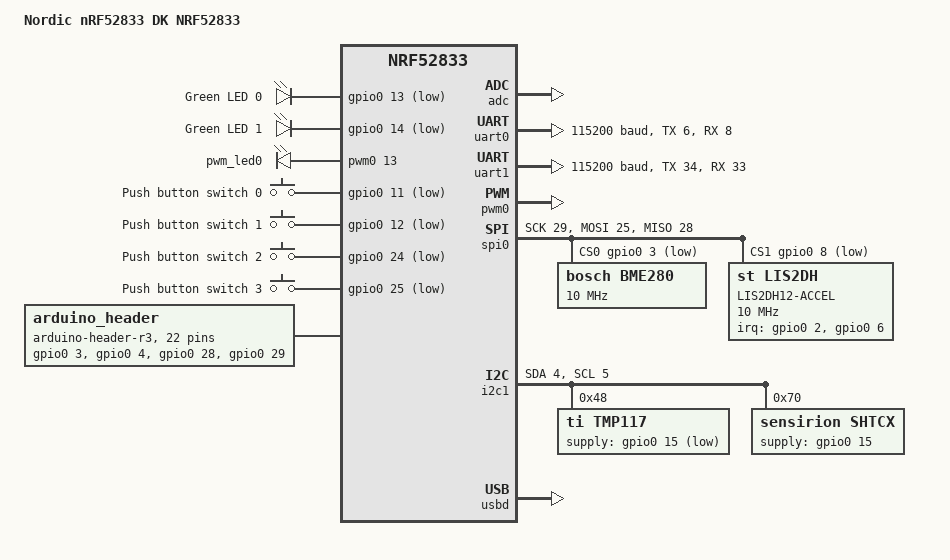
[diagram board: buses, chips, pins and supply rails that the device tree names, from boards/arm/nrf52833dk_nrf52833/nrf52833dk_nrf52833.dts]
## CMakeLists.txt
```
# SPDX-License-Identifier: Apache-2.0

cmake_minimum_required(VERSION 3.20.0)

# Add external Drivers
list(APPEND ZEPHYR_EXTRA_MODULES ${CMAKE_CURRENT_SOURCE_DIR}/drivers/lis2dh12)
list(APPEND ZEPHYR_EXTRA_MODULES ${CMAKE_CURRENT_SOURCE_DIR}/drivers/tmp117)

# Add the board
set(BOARD_ROOT ${CMAKE_CURRENT_LIST_DIR})

find_package(Zephyr REQUIRED HINTS $ENV{ZEPHYR_BASE})
project(ruuvitag)

target_sources(app PRIVATE src/main.c)

zephyr_include_directories(src)

add_subdirectory(src/led_handler)
add_subdirectory(src/button_handler)
add_subdirectory(src/board_info)
add_subdirectory(src/ruuvi_endpoint)
add_subdirectory(src/nfc_handler)
add_subdirectory(src/bt_handler)

###############Sensors###############
add_subdirectory(src/sensor_handler)
add_subdirectory(src/tmp117_handler)
add_subdirectory(src/bme280_handler)
add_subdirectory(src/lis2dh12_handler)
add_subdirectory(src/battery_handler)
add_subdirectory(src/shtcx_handler)
add_subdirectory(src/dps310_handler)
```

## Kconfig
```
#
# Copyright (c) 2018 Nordic Semiconductor ASA
#
# SPDX-License-Identifier: LicenseRef-BSD-5-Clause-Nordic
#

menu "Ruuvitag"

menu "Firmware versioning"

config FIRMWARE_VERSION
		string "The version of the Ruuvitag firmware"
		default "0.0.1"

config ZEPHYR_VERSION
		string "The version of Zephyr"
		default "2.7.90"

config NRF_CONNECT_SDK_VERSION
		string "The version of Connect SDK"
		default "1.7.1"


endmenu # Firmware versioning

config RUUVITAG_DFU_TIMEOUT
	int "The amount of minutes the device will remain connectable to perform a DFU."
	default 2

endmenu #Ruuvitag

menu "Zephyr Kernel"
source "Kconfig.zephyr"
endmenu

module = RUUVITAG
module-str = Ruuvitag
source "${ZEPHYR_BASE}/subsys/logging/Kconfig.template.log_config"
```

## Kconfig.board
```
# nRF52 RUUVI board configuration

config BOARD_NRF52_RUUVI
	bool "nRF52 RUUVI"
	depends on SOC_NRF52832_QFAA
```

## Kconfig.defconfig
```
# nRF52 RUUVI board configuration

# Copyright (c) 2016 Nordic Semiconductor ASA
# SPDX-License-Identifier: Apache-2.0

if BOARD_NRF52_RUUVI

config BOARD
	default "nrf52_ruuvi"

if ADC

config ADC_0
	default y

endif # ADC

if I2C

config I2C_0
	default y

endif # I2C

if SPI

config SPI_0
	default y

endif # SPI

config BT_CTLR
	default BT

endif # BOARD_NRF52_RUUVI
```

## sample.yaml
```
sample:
  description: Ruuvi Ruuvitag Weather Station sample
  name: weather station
tests:
  sample.board.ruuvi_ruuvitag.weather_station:
    platform_whitelist: ruuvi_ruuvitag
    tags: samples sensor
    harness: sensor
```

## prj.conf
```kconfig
# Enable rebooting
CONFIG_REBOOT=y

#Enable Peripheral Drivers
CONFIG_SPI=y
CONFIG_I2C=y
CONFIG_GPIO=y
CONFIG_ADC=y
CONFIG_ADC_ASYNC=y

#Enable Hardware Info - allows serial to be retrieved
CONFIG_HWINFO=y
CONFIG_HWINFO_NRF=y

#Enable Sensors Drivers
CONFIG_SENSOR=y

#Enable External Driver
CONFIG_BME280=y
CONFIG_SHTCX=y
CONFIG_DPS310=n
CONFIG_LIS2DH12=y
CONFIG_TMP117=y

CONFIG_APPLICATION_DEFINED_SYSCALL=y

CONFIG_HEAP_MEM_POOL_SIZE=2048

CONFIG_BT=y
CONFIG_BT_BROADCASTER=y
CONFIG_BT_PERIPHERAL=y
CONFIG_BT_GATT_CLIENT=y
CONFIG_BT_GATT_CACHING=n


CONFIG_BT_DEVICE_NAME="Ruuvi"
CONFIG_BT_DEVICE_APPEARANCE=833
CONFIG_BT_MAX_CONN=1
CONFIG_BT_MAX_PAIRED=1
CONFIG_BT_BAS=y

# Enable DIS Service
CONFIG_BT_DIS=y
CONFIG_BT_DIS_PNP=n
CONFIG_BT_DIS_MODEL="NRF52DK33"
CONFIG_BT_DIS_MANUF="Nordisk"
CONFIG_BT_DIS_SERIAL_NUMBER=n
CONFIG_BT_DIS_FW_REV=y
CONFIG_BT_DIS_HW_REV=y
CONFIG_BT_DIS_SW_REV=n
CONFIG_BT_DIS_SERIAL_NUMBER_STR="1"
CONFIG_BT_DIS_FW_REV_STR="Zephyr FW v0.0.1"
CONFIG_BT_DIS_HW_REV_STR="Check BCP"
CONFIG_BT_DIS_SW_REV_STR=""
CONFIG_BT_DIS_SETTINGS=y
CONFIG_BT_DIS_STR_MAX=21
CONFIG_SETTINGS=y

# Enable the NUS service
CONFIG_BT_NUS=n

# NFC
CONFIG_NFC_T2T_NRFXLIB=y
CONFIG_NFC_NDEF=y
CONFIG_NFC_NDEF_MSG=y
CONFIG_NFC_NDEF_RECORD=y
CONFIG_NFC_NDEF_TEXT_RECORD=y

# Needed for full libC library
CONFIG_NEWLIB_LIBC=y

#Power Management
CONFIG_BOARD_ENABLE_DCDC=y

# Config logger
CONFIG_LOG=y
CONFIG_USE_SEGGER_RTT=y

# Enable bonding
CONFIG_BT_SETTINGS=y
CONFIG_SETTINGS_RUNTIME=y
CONFIG_SETTINGS=y
CONFIG_SETTINGS_NONE=y

#Increase Stack Size
CONFIG_SYSTEM_WORKQUEUE_STACK_SIZE=4096

CONFIG_PM=y
CONFIG_PM_DEVICE=y

#Blank Line required for version to be added
```

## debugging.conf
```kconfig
#Debugging
CONFIG_USE_SEGGER_RTT=y
CONFIG_RTT_CONSOLE=y
CONFIG_CONSOLE=y
CONFIG_STDOUT_CONSOLE=n
CONFIG_UART_CONSOLE=n
CONFIG_CONSOLE_SUBSYS=y
CONFIG_CONSOLE_HANDLER=y
CONFIG_CONSOLE_GETCHAR=y
CONFIG_LOG=y
CONFIG_LOG_DEFAULT_LEVEL=3
```

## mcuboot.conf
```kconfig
# Bootloader
CONFIG_BOOTLOADER_MCUBOOT=y

# Disable HW Stack Protection to allow flash access. Needed for boothloader/
CONFIG_HW_STACK_PROTECTION=n

# Flash operations
CONFIG_FLASH=y
# Below should work to allow flash write to MPU but doesn't
#CONFIG_MPU_ALLOW_FLASH_WRITE=y

# Allow for large Bluetooth data packets.
CONFIG_BT_L2CAP_TX_MTU=252
CONFIG_BT_BUF_ACL_RX_SIZE=256

# Enable SMP over Bluetooth (unauthenticated).
CONFIG_MCUMGR_SMP_BT=y
CONFIG_MCUMGR_SMP_BT_AUTHEN=n

# Enable the LittleFS file system.
CONFIG_FILE_SYSTEM=y
CONFIG_FILE_SYSTEM_LITTLEFS=y

# Enable file system commands
CONFIG_MCUMGR_CMD_FS_MGMT=y

# Enable mcumgr.
CONFIG_MCUMGR=y

# Enable most core commands.
CONFIG_MCUMGR_CMD_IMG_MGMT=y
CONFIG_MCUMGR_CMD_OS_MGMT=y
```

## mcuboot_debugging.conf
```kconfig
#Debugging
CONFIG_USE_SEGGER_RTT=y
CONFIG_RTT_CONSOLE=y
CONFIG_CONSOLE=y
CONFIG_STDOUT_CONSOLE=n
CONFIG_UART_CONSOLE=n
CONFIG_CONSOLE_SUBSYS=y
CONFIG_CONSOLE_HANDLER=y
CONFIG_CONSOLE_GETCHAR=y
CONFIG_LOG=y
CONFIG_LOG_DEFAULT_LEVEL=3

# Bootloader
CONFIG_BOOTLOADER_MCUBOOT=y

# Disable HW Stack Protection to allow flash access. Needed for boothloader/
CONFIG_HW_STACK_PROTECTION=n

# Flash operations
CONFIG_FLASH=y
# Below should work to allow flash write to MPU but doesn't
#CONFIG_MPU_ALLOW_FLASH_WRITE=y

# Allow for large Bluetooth data packets.
CONFIG_BT_L2CAP_TX_MTU=252
CONFIG_BT_BUF_ACL_RX_SIZE=256

# Enable SMP over Bluetooth (unauthenticated).
CONFIG_MCUMGR_SMP_BT=y
CONFIG_MCUMGR_SMP_BT_AUTHEN=n

# Enable the LittleFS file system.
CONFIG_FILE_SYSTEM=y
CONFIG_FILE_SYSTEM_LITTLEFS=y

# Enable file system commands
CONFIG_MCUMGR_CMD_FS_MGMT=y

# Enable mcumgr.
CONFIG_MCUMGR=y

# Enable most core commands.
CONFIG_MCUMGR_CMD_IMG_MGMT=y
CONFIG_MCUMGR_CMD_OS_MGMT=y
```

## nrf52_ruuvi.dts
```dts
/*
 * Copyright (c) 2017 Shawn Nock <shawn@monadnock.ca>
 * Copyright (c) 2017 Linaro Limited
 *
 * SPDX-License-Identifier: Apache-2.0
 */

/dts-v1/;
#include <nordic/nrf52832_qfaa.dtsi>

/ {
	model = "Ruuvitag";
	compatible = "nordic,pca10040-dk", "nordic,nrf52832-qfaa",
		     "nordic,nrf52832";

	chosen {
		zephyr,console = &uart0;
		zephyr,shell-uart = &uart0;
		zephyr,uart-mcumgr = &uart0;
		zephyr,bt-mon-uart = &uart0;
		zephyr,bt-c2h-uart = &uart0;
		zephyr,sram = &sram0;
		zephyr,flash = &flash0;
		zephyr,code-partition = &slot0_partition;
	};

/* These aliases are provided for compatibility with samples */
	aliases {
		led0 = &led0;
		led1 = &led1;
		sw0 = &button0;
	};

	leds {
		compatible = "gpio-leds";
		led0: led_0 {
			gpios = <&gpio0 17 GPIO_INT_ACTIVE_LOW>;
			label = "Red LED 0";
		};
		led1: led_1 {
			gpios = <&gpio0 19 GPIO_INT_ACTIVE_LOW>;
			label = "Green LED 1";
		};
	};

	buttons {
		compatible = "gpio-keys";
		button0: button_0 {
			gpios = <&gpio0 13 GPIO_PUD_PULL_UP>;
			label = "Push button switch 0";
		};
	};

	
};

&adc {
	status = "okay";
};

&gpiote {
	status = "okay";
};

&gpio0 {
	status = "okay";
};

&uart0 {
	status = "okay";
	compatible = "nordic,nrf-uart";
	current-speed = <115200>;
	tx-pin = <5>;
	rx-pin = <4>;
	cts-pin = <31>;
	rts-pin = <30>;
};

&i2c0 {
	compatible = "nordic,nrf-twi"; 
	status = "okay";
	clock-frequency = <I2C_BITRATE_FAST>;
	sda-pin = <20>;
	scl-pin = <19>;

};

&spi0 {
	compatible = "nordic,nrf-spi";
	/* Cannot be used together with i2c0. */
	status = "okay";
	sck-pin = <29>;
	mosi-pin = <25>;
	miso-pin = <28>;
	#cs-pin = <2>;								/* Not sure if needed */
    #cs-gpios = <&gpio0 3 0>, <&gpio0 8 0>;		/* Not sure if needed */

	bme280@0 {
		compatible = "bosch,bme280";
		reg = <0x00>;
		spi-max-frequency = <10000000>;
		label= "BME280";
	};
	
	lis2dh@1 {
		compatible = "st,lis2dh";
		reg = <0x01>;
		spi-max-frequency = <10000000>;
		irq-gpios = <&gpio0 2 GPIO_INT_ACTIVE_HIGH>;
		label = "LIS2DH";
	};

	
};


&flash0 {
	/*
	 * For more information, see:
	 * http://docs.zephyrproject.org/latest/guides/dts/index.html#flash-partitions
	 */
	partitions {
		compatible = "fixed-partitions";
		#address-cells = <1>;
		#size-cells = <1>;

		boot_partition: partition@0 {
			label = "mcuboot";
			reg = <0x00000000 0xc000>;
		};
		slot0_partition: partition@c000 {
			label = "image-0";
			reg = <0x0000C000 0x32000>;
		};
		slot1_partition: partition@3e000 {
			label = "image-1";
			reg = <0x0003E000 0x32000>;
		};
		scratch_partition: partition@70000 {
			label = "image-scratch";
			reg = <0x00070000 0xa000>;
		};
		storage_partition: partition@7a000 {
			label = "storage";
			reg = <0x0007a000 0x00006000>;
		};
	};
};
```

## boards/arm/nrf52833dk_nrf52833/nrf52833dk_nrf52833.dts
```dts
/*
 * Copyright (c) 2019 Nordic Semiconductor ASA
 *
 * SPDX-License-Identifier: Apache-2.0
 */

/dts-v1/;
#include <nordic/nrf52833_qiaa.dtsi>

/ {
	model = "Nordic nRF52833 DK NRF52833";
	compatible = "nordic,nrf52833-dk-nrf52833";

	chosen {
		zephyr,console = &uart0;
		zephyr,shell-uart = &uart0;
		zephyr,uart-mcumgr = &uart0;
		zephyr,bt-mon-uart = &uart0;
		zephyr,bt-c2h-uart = &uart0;
		zephyr,sram = &sram0;
		zephyr,flash = &flash0;
		zephyr,code-partition = &slot0_partition;
	};

	leds {
		compatible = "gpio-leds";
		led0: led_0 {
			gpios = <&gpio0 13 GPIO_ACTIVE_LOW>;
			label = "Green LED 0";
		};
		led1: led_1 {
			gpios = <&gpio0 14 GPIO_ACTIVE_LOW>;
			label = "Green LED 1";
		};
		/*led2: led_2 {
			gpios = <&gpio0 15 GPIO_ACTIVE_LOW>;
			label = "Green LED 2";
		};*/
	};

	pwmleds {
		compatible = "pwm-leds";
		pwm_led0: pwm_led_0 {
			pwms = <&pwm0 13>;
		};
	};

	buttons {
		compatible = "gpio-keys";
		button0: button_0 {
			gpios = <&gpio0 11 (GPIO_PULL_UP | GPIO_ACTIVE_LOW)>;
			label = "Push button switch 0";
		};
		button1: button_1 {
			gpios = <&gpio0 12 (GPIO_PULL_UP | GPIO_ACTIVE_LOW)>;
			label = "Push button switch 1";
		};
		button2: button_2 {
			gpios = <&gpio0 24 (GPIO_PULL_UP | GPIO_ACTIVE_LOW)>;
			label = "Push button switch 2";
		};
		button3: button_3 {
			gpios = <&gpio0 25 (GPIO_PULL_UP | GPIO_ACTIVE_LOW)>;
			label = "Push button switch 3";
		};
	};

	/*sensor_power {
		compatible = "gpio-keys";
								
		snp1: sensor_power_1 {
			gpios = <&gpio0 19 GPIO_ACTIVE_LOW>;
			label = "Power 1";
		};
		snp2: sensor_power_2 {
			gpios = <&gpio0 07 GPIO_ACTIVE_LOW>;
			label = "Power 2";
		};
	};
*/
	arduino_header: connector {
		compatible = "arduino-header-r3";
		#gpio-cells = <2>;
		gpio-map-mask = <0xffffffff 0xffffffc0>;
		gpio-map-pass-thru = <0 0x3f>;
		gpio-map = <0 0 &gpio0 3 0>,	/* A0 */
			   <1 0 &gpio0 4 0>,	/* A1 */
			   <2 0 &gpio0 28 0>,	/* A2 */
			   <3 0 &gpio0 29 0>,	/* A3 */
			   <4 0 &gpio0 30 0>,	/* A4 */
			   <5 0 &gpio0 31 0>,	/* A5 */
			   <6 0 &gpio1 1 0>,	/* D0 */
			   <7 0 &gpio1 2 0>,	/* D1 */
			   <8 0 &gpio1 3 0>,	/* D2 */
			   <9 0 &gpio1 4 0>,	/* D3 */
			   <10 0 &gpio1 5 0>,	/* D4 */
			   <11 0 &gpio1 6 0>,	/* D5 */
			   <12 0 &gpio1 7 0>,	/* D6 */
			   <13 0 &gpio1 8 0>,	/* D7 */
			   <14 0 &gpio0 17 0>,	/* D8 */
			   <15 0 &gpio0 19 0>,	/* D9 */
			   <16 0 &gpio0 20 0>,	/* D10 */
			   <17 0 &gpio0 21 0>,	/* D11 */
			   <18 0 &gpio0 22 0>,	/* D12 */
			   <19 0 &gpio0 23 0>,	/* D13 */
			   <20 0 &gpio0 26 0>,	/* D14 */
			   <21 0 &gpio0 27 0>;	/* D15 */
	};

	/* These aliases are provided for compatibility with samples */
	aliases {
		led0 = &led0;
		led1 = &led1;
		//led2 = &led2;
		
		pwm-led0 = &pwm_led0;
		sw0 = &button0;
		sw1 = &button1;
		sw2 = &button2;
		sw3 = &button3;
		bootloader-led0 = &led0;
		usbd0 = &usbd;
		
		//snp1 = &snp1;
		//snp2 = &snp2;		
		};
};

&adc {
	status = "okay";
};

&gpiote {
	status = "okay";
};

&gpio0 {
	status = "okay";
};

&gpio1 {
	status = "okay";
};

&uart0 {
	compatible = "nordic,nrf-uarte";
	status = "okay";
	current-speed = <115200>;
	tx-pin = <6>;
	rx-pin = <8>;
	rts-pin = <5>;
	cts-pin = <7>;
};

arduino_serial: &uart1 {
	status = "okay";
	current-speed = <115200>;
	rx-pin = <33>;
	tx-pin = <34>;
};




&pwm0 {
	status = "okay";
	ch0-pin = <13>;
	ch0-inverted;
};

&spi0 {
	compatible = "nordic,nrf-spi";
	status = "okay";
	sck-pin = <29>;
	mosi-pin = <25>;
	miso-pin = <28>;
	cs-gpios = <&gpio0 3 GPIO_ACTIVE_LOW>, <&gpio0 8 GPIO_ACTIVE_LOW>;

	bme280@0 {
		compatible = "bosch,bme280";
		reg = <0>;
		spi-max-frequency = <10000000>;
		label= "BME280";
	};

	lis2dh12: lis2dh12@1 {
		compatible = "st,lis2dh", "st,lis2dh12";
		reg = <1>;
		spi-max-frequency = <10000000>;
		irq-gpios =  <&gpio0 2 GPIO_ACTIVE_HIGH>, <&gpio0 6 GPIO_ACTIVE_HIGH>;
		label = "LIS2DH12-ACCEL";
	};
};

&i2c1 {
	compatible = "nordic,nrf-twi";
	status = "okay";
	sda-pin = <4>; // RuuviTag Revision b8
	scl-pin = <5>;
		ti_tmp117: ti_tmp117@48 {
		compatible = "ti,tmp117";
		reg = <0x48>;
		label = "TMP117";
		//alert-gpios = <&gpio0 16 GPIO_ACTIVE_HIGH>;
                supply-gpios= <&gpio0 15 GPIO_ACTIVE_LOW>;
	};

		sensirion_shtcx: shtcx@70 {
		compatible = "sensirion,shtcx";
		reg = <0x70>;
		label = "SHTCX";
                chip = "shtc3";
                measure-mode = "normal";
                supply-gpios= <&gpio0 15 GPIO_ACTIVE_HIGH>;
	};
	
		
};


&flash0 {

	partitions {
		compatible = "fixed-partitions";
		#address-cells = <1>;
		#size-cells = <1>;

		boot_partition: partition@0 {
			label = "mcuboot";
			reg = <0x000000000 0xC000>;
		};
		slot0_partition: partition@c000 {
			label = "image-0";
			reg = <0x0000C000 0x32000>;
		};
		slot1_partition: partition@3e000 {
			label = "image-1";
			reg = <0x0003E000 0x32000>;
		};
		scratch_partition: partition@70000 {
			label = "image-scratch";
			reg = <0x00070000 0xA000>;
		};
		storage_partition: partition@7a000 {
			label = "storage";
			reg = <0x0007A000 0x00006000>;
		};
	};
};

&usbd {
	compatible = "nordic,nrf-usbd";
	status = "okay";
};
```

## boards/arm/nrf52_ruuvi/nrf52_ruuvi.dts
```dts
/dts-v1/;
#include <nordic/nrf52832_qfaa.dtsi>

/ {
	model = "Ruuvitag";
	compatible = "nordic,nrf52-dk-nrf52832", "nordic,nrf52832-qfaa",
		     "nordic,nrf52832";

	chosen {
		zephyr,console = &uart0;
		zephyr,shell-uart = &uart0;
		zephyr,uart-mcumgr = &uart0;
		zephyr,bt-mon-uart = &uart0;
		zephyr,bt-c2h-uart = &uart0;
		zephyr,sram = &sram0;
		zephyr,flash = &flash0;
		zephyr,code-partition = &slot0_partition;
	};

/* These aliases are provided for compatibility with samples */
	aliases {
		led0 = &led0;
		led1 = &led1;
		sw0 = &button0;
	};

	leds {
		compatible = "gpio-leds";
		led0: led_0 {
			gpios = <&gpio0 17 GPIO_ACTIVE_LOW>;
			label = "Red LED 0";
		};
		led1: led_1 {
			gpios = <&gpio0 19 GPIO_ACTIVE_LOW>;
			label = "Green LED 1";
		};
	};

	buttons {
		compatible = "gpio-keys";
		button0: button_0 {
			gpios = <&gpio0 13 (GPIO_PULL_UP | GPIO_ACTIVE_LOW)>;
			label = "Push button switch 0";
		};
	};


};

&adc {
	status = "okay";
};

&gpiote {
	status = "okay";
};

&gpio0 {
	status = "okay";
};

&uart0 {
	status = "okay";
	compatible = "nordic,nrf-uart";
	current-speed = <115200>;
	tx-pin = <5>;
	rx-pin = <4>;
	cts-pin = <31>;
	rts-pin = <30>;
};

&spi0 {
	compatible = "nordic,nrf-spi";
	/* Cannot be used together with i2c0. */
	status = "okay";
	sck-pin = <29>;
	mosi-pin = <25>;
	miso-pin = <28>;
  	cs-gpios = <&gpio0 3 0>, <&gpio0 8 0>;		/* Not sure if needed */

	bme280@0 {
		compatible = "bosch,bme280";
		reg = <0>;
		spi-max-frequency = <10000000>;
		label= "BME280";
	};
	
	lis2dh12: lis2dh12@1 {
		compatible = "st,lis2dh", "st,lis2dh12";
		reg = <1>;
		spi-max-frequency = <10000000>;
		irq-gpios = <&gpio0 6 GPIO_ACTIVE_HIGH>;
		label = "LIS2DH12-ACCEL";
	};
};


&flash0 {
	/*
	 * For more information, see:
	 * http://docs.zephyrproject.org/latest/guides/dts/index.html#flash-partitions
	 */
	partitions {
		compatible = "fixed-partitions";
		#address-cells = <1>;
		#size-cells = <1>;

		boot_partition: partition@0 {
			label = "mcuboot";
			reg = <0x00000000 0xc000>;
		};
		slot0_partition: partition@c000 {
			label = "image-0";
			reg = <0x0000C000 0x32000>;
		};
		slot1_partition: partition@3e000 {
			label = "image-1";
			reg = <0x0003E000 0x32000>;
		};
		scratch_partition: partition@70000 {
			label = "image-scratch";
			reg = <0x00070000 0xa000>;
		};
		storage_partition: partition@7a000 {
			label = "storage";
			reg = <0x0007a000 0x00006000>;
		};
	};
};
```

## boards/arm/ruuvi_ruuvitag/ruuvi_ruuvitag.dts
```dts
/*
 * Copyright (c) 2020 Ruuvi Innovations Ltd (Oy)
 *
 * SPDX-License-Identifier: Apache-2.0
 */

/dts-v1/;
#include <nordic/nrf52832_qfaa.dtsi>

/ {
	model = "Ruuvi RuuviTag";
	compatible = "ruuvi,ruuvitag";

	chosen {
		zephyr,sram = &sram0;
		zephyr,flash = &flash0;
		zephyr,code-partition = &slot0_partition;
	};

	/* These aliases are provided for compatibility with samples */
	aliases {
		led0 = &led0;
		led1 = &led1;
		sw0 = &button0;
		snp1 = &snp1;
		snp2 = &snp2;
	};

	leds {
		compatible = "gpio-leds";
		led0: led_0 {
			gpios = <&gpio0 17 GPIO_ACTIVE_LOW>;
			label = "Red LED 0";
		};
		led1: led_1 {
			gpios = <&gpio0 19 GPIO_ACTIVE_LOW>;
			label = "Green LED 1";
		};
	};

	buttons {
		compatible = "gpio-keys";
		button0: button_0 {
			gpios = <&gpio0 13 (GPIO_PULL_UP | GPIO_ACTIVE_LOW)>;
			label = "Push button switch 0";
		};
	};

	sensor_power {
		compatible = "gpio-keys";
		snp1: sensor_power_1 {
			gpios = <&gpio0 20 GPIO_ACTIVE_HIGH>;
			label = "Power 1";
		};
		snp2: sensor_power_2 {
			gpios = <&gpio0 21 GPIO_ACTIVE_HIGH>;
			label = "Power 2";
		};
	};

};

&adc {
	status = "okay";
};

&gpiote {
	status = "okay";
};

&gpio0 {
	status = "okay";
};

&spi0 {
	compatible = "nordic,nrf-spi";
	status = "okay";
	sck-pin = <29>;
	mosi-pin = <25>;
	miso-pin = <28>;
	cs-gpios = <&gpio0 3 GPIO_ACTIVE_LOW>, <&gpio0 8 GPIO_ACTIVE_LOW>;
        
	bme280@0 {
		compatible = "bosch,bme280";
		reg = <0>;
		spi-max-frequency = <10000000>;
		label= "BME280";
                supply-gpios= <&gpio0 07 GPIO_ACTIVE_HIGH>;
	};

	lis2dh12: lis2dh12@1 {
		compatible = "st,lis2dh", "st,lis2dh12";
		reg = <1>;
		spi-max-frequency = <10000000>;
		irq-gpios =  <&gpio0 2 GPIO_ACTIVE_HIGH>, <&gpio0 6 GPIO_ACTIVE_HIGH>;
		label = "LIS2DH12-ACCEL";
        supply-gpios= <&gpio0 07 GPIO_ACTIVE_HIGH>;
	};
};
&i2c1 {
	compatible = "nordic,nrf-twi";
	status = "okay";
	sda-pin = <4>;
	scl-pin = <5>;

	ti_tmp117: ti_tmp117@48 {
		compatible = "ti,tmp117";
		reg = <0x48>;
		label = "TMP117";
		alert-gpios = <&gpio0 16 GPIO_ACTIVE_HIGH>;
        supply-gpios= <&gpio0 12 GPIO_ACTIVE_HIGH>;
	};

    sensirion_shtcx: shtcx@70 {
		compatible = "sensirion,shtcx";
		reg = <0x70>;
		label = "SHTCX";
                chip = "shtc3";
                measure-mode = "normal";
                supply-gpios= <&gpio0 12 GPIO_ACTIVE_HIGH>;
	};

    
};

&flash0 {

	partitions {
		compatible = "fixed-partitions";
		#address-cells = <1>;
		#size-cells = <1>;

		boot_partition: partition@0 {
			label = "mcuboot";
			reg = <0x00000000 0xc000>;
		};
		slot0_partition: partition@c000 {
			label = "image-0";
			reg = <0x0000C000 0x32000>;
		};
		slot1_partition: partition@3e000 {
			label = "image-1";
			reg = <0x0003E000 0x32000>;
		};
		scratch_partition: partition@70000 {
			label = "image-scratch";
			reg = <0x00070000 0xa000>;
		};

		/*
		 * The flash starting at 0x0007a000 and ending at
		 * 0x0007ffff (sectors 122-127) is reserved for use
		 * by the application.
		 * Storage partition will be used by FCB/LittleFS/NVS
		 * if enabled.
		 */
		storage_partition: partition@7a000 {
			label = "storage";
			reg = <0x0007a000 0x00006000>;
		};
	};
};
```

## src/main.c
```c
/*
 * Copyright (c) 2020 theB@STI0N
 *
 * SPDX-License-Identifier: MIT
 */

#include <zephyr.h>
#include <device.h>
#include <drivers/sensor.h>
#include <drivers/gpio.h>
#include <power/reboot.h>
#include <pm/pm.h>
#include <stdio.h>
#include <sys/util.h>
#ifdef CONFIG_BOOTLOADER_MCUBOOT
#include "dfu/mcuboot.h"
#endif
#ifdef CONFIG_MCUMGR_CMD_FS_MGMT
#include <device.h>
#include <fs/fs.h>
#include "fs_mgmt/fs_mgmt.h"
#include <fs/littlefs.h>
#endif
#ifdef CONFIG_MCUMGR_CMD_OS_MGMT
#include "os_mgmt/os_mgmt.h"
#endif
#ifdef CONFIG_MCUMGR_CMD_IMG_MGMT
#include "img_mgmt/img_mgmt.h"
#endif

#include "ruuvi.h"
#include "led_handler.h"
#include "button_handler.h"
#include "board_info.h"
#include "bt_handler.h"

#include "sensor_handler.h"
#include "nfc_handler.h"

#include <logging/log.h>
LOG_MODULE_REGISTER(ruuvitag, CONFIG_RUUVITAG_LOG_LEVEL);

#ifdef CONFIG_MCUMGR_CMD_FS_MGMT
FS_LITTLEFS_DECLARE_DEFAULT_CONFIG(cstorage);
static struct fs_mount_t littlefs_mnt = {
	.type = FS_LITTLEFS,
	.fs_data = &cstorage,
	.storage_dev = (void *)FLASH_AREA_ID(storage),
	.mnt_point = "/lfs"
};
#endif

static void dfu_init(void){
	/* Register the built-in mcumgr command handlers. */
#ifdef CONFIG_MCUMGR_CMD_FS_MGMT
	int rc = fs_mount(&littlefs_mnt);
	if (rc < 0) {
		LOG_ERR("Error mounting littlefs [%d]", rc);
	}

	fs_mgmt_register_group();
#endif
#ifdef CONFIG_MCUMGR_CMD_OS_MGMT
	os_mgmt_register_group();
#endif
#ifdef CONFIG_MCUMGR_CMD_IMG_MGMT
	img_mgmt_register_group();
#endif
}

static int64_t lastPressed = 0;
static int64_t btn_time = 0;

static struct gpio_callback button_cb_data;

static void button_pressed(const struct device *dev, struct gpio_callback *cb,
		    uint32_t pins)
{
	btn_time = k_uptime_get();
	
	if (btn_time - lastPressed > 1000){
		toggle_red(1);
		toggle_green(1);
	}
	lastPressed = btn_time;
}

static void init_peripherals(void)
{
	led_init();

	button_init();
	
	/*
	 * This could be used in the future to perform any numbers 
	 * of tasks.
	 */
	if(button_pressed_state()){
		LOG_INF("Button Pressed at boot.\n");
	}
	button_int_setup(&button_cb_data, button_pressed);

	/*
	 * Initialises the sensors and makes them ready to fill the
	 * BLE TX buffer.
	 */
	sensor_init();
}

void main(void)
{	
	LOG_INF("Ruuvitag Started");
	LOG_INF("FW Version: %s", log_strdup(CONFIG_FIRMWARE_VERSION));

	init_peripherals();

	/*
	 * Enables the filsesystem and mgmt groups that are required to
	 * enable dfu functionality.
	 */
	dfu_init();

	/* Initialize the Bluetooth Subsystem.*/
	bt_init();
	/* NFC must be done after BT so that MAC can be received. */
	nfc_init();

	while (true) {
		toggle_green(1);
		udpate_sensor_data();
		/* Turn LEDs off */
		toggle_green(0);
		k_sleep(K_MSEC(1000));
	}
}
```

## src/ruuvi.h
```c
/*
 * Copyright (c) 2020 theB@STI0N
 *
 * SPDX-License-Identifier: MIT
 */
#ifndef RUUVI_H_
#define RUUVI_H_

#pragma once

#include <zephyr.h>
#include <stdint.h>
#include <stdbool.h>

#ifdef CONFIG_RUUVITAG_NFC_SENSOR_DATA
#define RUUVI_NFC_REFRESH CONFIG_RUUVITAG_NFC_SENSOR_DATA_FREQUENCY * 1000 * 60
#endif
#define RUUVI_DFU_TIMEOUT CONFIG_RUUVITAG_DFU_TIMEOUT * 1000 * 60
#define RUUVI_COMPANY_ID 0x0499
#define RUUVI_MFG_OFFSET 2
#define RUUVI_RAWv2 0x05
#define RUUVI_ZEPHYR_PACKET 0x09
#define RUUVI_RAWv2_LEN 24
#define RUUVI_DSN_LENGTH_BYTES 8
#define RUUVI_DSN_LENGTH_CHAR RUUVI_DSN_LENGTH_BYTES*2
#define RUUVI_BLE_PASSKEY 9904

#ifdef CONFIG_BT_CTLR_TX_PWR_PLUS_4
#define RUUVI_TX_POWER 4
#endif
#ifdef CONFIG_BT_CTLR_TX_PWR_0
#define RUUVI_TX_POWER 0
#endif
#ifdef CONFIG_BT_CTLR_TX_PWR_MINUS_4
#define RUUVI_TX_POWER -4
#endif
#ifdef CONFIG_BT_CTLR_TX_PWR_MINUS_8
#define RUUVI_TX_POWER -8
#endif
#ifdef CONFIG_BT_CTLR_TX_PWR_MINUS_12
#define RUUVI_TX_POWER -12
#endif
#ifdef CONFIG_BT_CTLR_TX_PWR_MINUS_16
#define RUUVI_TX_POWER -16
#endif
#ifdef CONFIG_BT_CTLR_TX_PWR_MINUS_20
#define RUUVI_TX_POWER -20
#endif

/*
 * NFC Variables
 */
#define RUUVI_MAX_REC_COUNT		        7
#define RUUVI_NFC_ZEPHYR_VERSION_LEN    15
#define RUUVI_NFC_NCS_VERSION_LEN       11
#define RUUVI_NFC_FW_VERSION_LEN		10
#define RUUVI_NFC_AD_LEN 		        24
#define RUUVI_NFC_SERIAL_LEN 		    29
#define RUUVI_NFC_DATA_LEN              150
#define RUUVI_NDEF_MSG_BUF_SIZE	        300

typedef struct mac_address_bin
{
    uint8_t mac[6];
} mac_address_bin_t;

typedef struct sensor_data
{
    int16_t x;
    int16_t y;
    int16_t z;
    int16_t vbatt;
    int32_t temperature;
    uint16_t pressure;
    uint32_t humidity;

} sensor_data_t;

typedef struct ble_data
{
    uint8_t id[2];
    uint8_t data[24];
} ble_data_t;

/* The devicetree node identifier for the "sw0" alias. */
#define SW0_NODE	DT_ALIAS(sw0)

#if DT_NODE_HAS_STATUS(SW0_NODE, okay)
#define SW0_GPIO_LABEL	DT_GPIO_LABEL(SW0_NODE, gpios)
#define SW0_GPIO_PIN	DT_GPIO_PIN(SW0_NODE, gpios)
#define SW0_GPIO_FLAGS	(GPIO_INPUT | DT_GPIO_FLAGS(SW0_NODE, gpios))
#else
#error "Unsupported board: sw0 devicetree alias is not defined"
#define SW0_GPIO_LABEL	""
#define SW0_GPIO_PIN	0
#define SW0_GPIO_FLAGS	0
#endif

#endif /* RUUVI_H_ */
```
